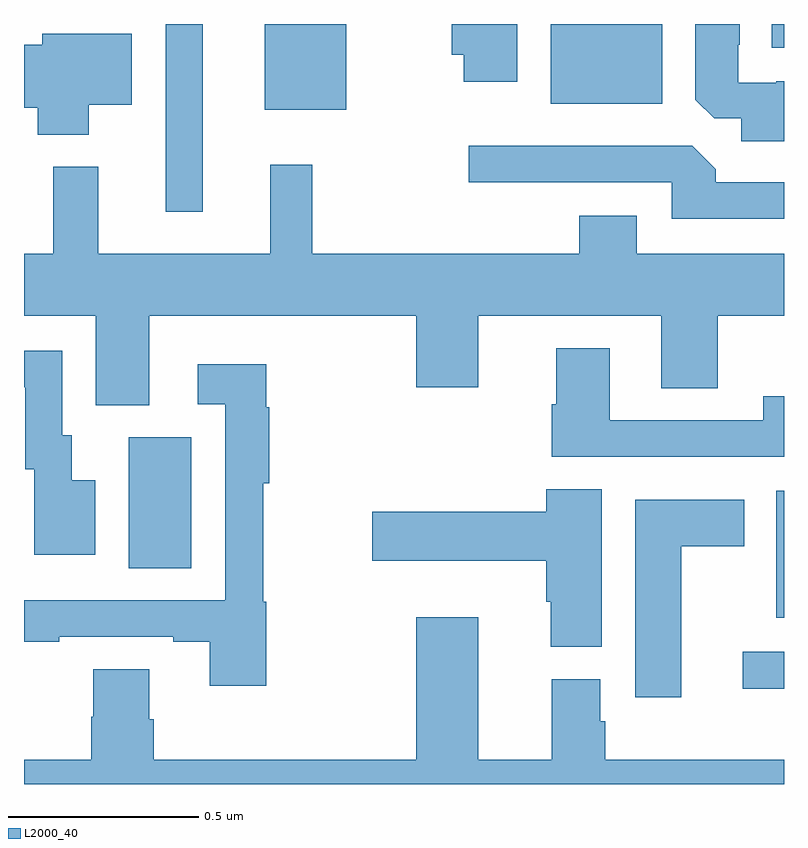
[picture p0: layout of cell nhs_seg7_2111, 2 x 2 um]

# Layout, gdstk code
import gdstk
lib = gdstk.Library(unit=1e-6, precision=1e-09)
def R(c, l, rs):  # rectangles x0, y0, x1, y1
    for r in rs: c.add(gdstk.rectangle(r[:2], r[2:], *l))
def P(c, l, *ps):  # polygons
    for p in ps: c.add(gdstk.Polygon(p, *l))
L2000_40 = (2000, 40)

nhs_seg7_2111 = lib.new_cell('nhs_seg7_2111')
R(nhs_seg7_2111, L2000_40, [(141.891,1050.251,142,1050.348), (141.98,1050.437,142,1050.772), (140.276,1050.568,140.44,1050.912), (140.373,1051.506,140.47,1052), (140.633,1051.775,140.848,1052), (141.386,1051.79,141.679,1052), (141.968,1051.937,142,1052)])
P(nhs_seg7_2111, L2000_40, [(141.298,1052),(141.125,1052),(141.125,1051.919),(141.157,1051.919),(141.157,1051.848),(141.298,1051.848)],
  [(142,1051.849),(141.979,1051.849),(141.979,1051.845),(141.879,1051.845),(141.879,1051.945),(141.883,1051.945),(141.883,1052),(141.767,1052),(141.767,1051.801),(141.816,1051.752),(141.887,1051.752),(141.887,1051.691),(142,1051.691)],
  [(140.17,1051.787),(140.284,1051.787),(140.284,1051.975),(140.048,1051.975),(140.048,1051.945),(140,1051.945),(140,1051.78),(140.036,1051.78),(140.036,1051.709),(140.17,1051.709)],
  [(142,1051.584),(141.821,1051.584),(141.821,1051.618),(141.759,1051.68),(141.171,1051.68),(141.171,1051.584),(141.705,1051.584),(141.705,1051.488),(142,1051.488)],
  [(140.329,1051.232),(141.032,1051.232),(141.032,1051.044),(141.196,1051.044),(141.196,1051.232),(141.677,1051.232),(141.677,1051.042),(141.825,1051.042),(141.825,1051.232),(142,1051.232),(142,1051.396),(141.613,1051.396),(141.613,1051.495),(141.461,1051.495),(141.461,1051.396),(140.758,1051.396),(140.758,1051.63),(140.648,1051.63),(140.648,1051.396),(140.195,1051.396),(140.195,1051.624),(140.077,1051.624),(140.077,1051.396),(140,1051.396),(140,1051.232),(140.189,1051.232),(140.189,1050.997),(140.329,1050.997)],
  [(142,1051.021),(141.946,1051.021),(141.946,1050.957),(141.541,1050.957),(141.541,1051.147),(141.401,1051.147),(141.401,1050.999),(141.389,1050.999),(141.389,1050.861),(142,1050.861)],
  [(140.188,1050.799),(140.125,1050.799),(140.125,1050.918),(140.1,1050.918),(140.1,1051.14),(140,1051.14),(140,1051.044),(140.003,1051.044),(140.003,1050.828),(140.027,1050.828),(140.027,1050.603),(140.188,1050.603)],
  [(140.638,1050.48),(140.63,1050.48),(140.63,1050.792),(140.645,1050.792),(140.645,1050.992),(140.638,1050.992),(140.638,1051.105),(140.457,1051.105),(140.457,1050.999),(140.529,1050.999),(140.529,1050.483),(140,1050.483),(140,1050.375),(140.093,1050.375),(140.093,1050.387),(140.393,1050.387),(140.393,1050.375),(140.489,1050.375),(140.489,1050.258),(140.638,1050.258)],
  [(141.52,1050.776),(141.374,1050.776),(141.374,1050.717),(140.916,1050.717),(140.916,1050.587),(141.374,1050.587),(141.374,1050.479),(141.386,1050.479),(141.386,1050.361),(141.52,1050.361)],
  [(141.73,1050.626),(141.895,1050.626),(141.895,1050.748),(141.608,1050.748),(141.608,1050.228),(141.73,1050.228)],
  [(142,1050.064),(141.53,1050.064),(141.53,1050.165),(141.517,1050.165),(141.517,1050.276),(141.389,1050.276),(141.389,1050.064),(141.196,1050.064),(141.196,1050.439),(141.032,1050.439),(141.032,1050.064),(140.342,1050.064),(140.342,1050.17),(140.329,1050.17),(140.329,1050.302),(140.182,1050.302),(140.182,1050.177),(140.177,1050.177),(140.177,1050.064),(140,1050.064),(140,1050),(142,1050)])

lib.write_gds('nhs_seg7_2111.gds')
